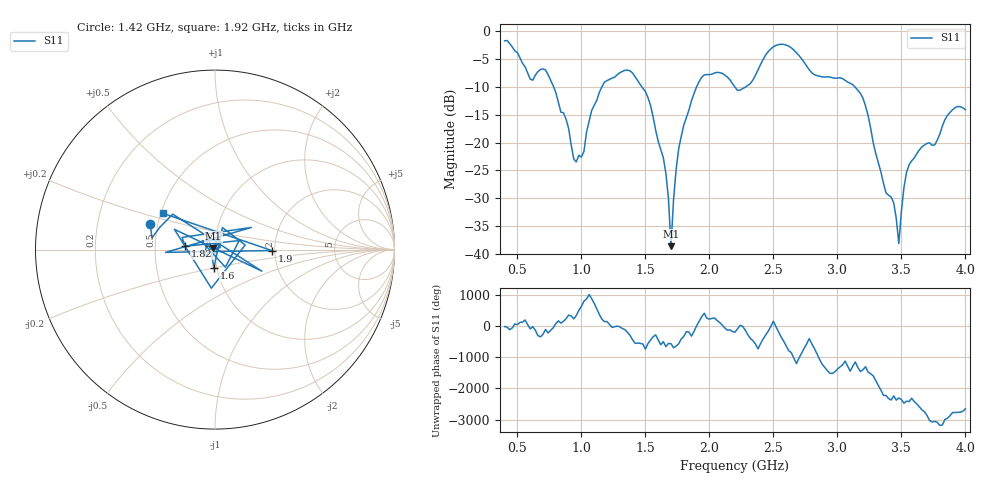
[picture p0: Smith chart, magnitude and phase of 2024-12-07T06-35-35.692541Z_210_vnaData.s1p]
!Created with skrf (http://scikit-rf.org).
# Hz S RI R 50.0
!freq ReS11 ImS11
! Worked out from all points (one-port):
!   181 points, 400 MHz to 4 GHz, reference 50 ohm
!   lowest |S11| = -38.6 dB at 1.7 GHz (marker M1), VSWR 1.02, Z = 49 + j0.627 ohm
!   |S11| at or under -10 dB: 783 MHz to 1.16 GHz (377.4 MHz wide, 38.8 % of centre); 1.472 GHz to 1.9 GHz (427.4 MHz wide, 25.3 % of centre); 3.137 GHz to end of sweep (the widest 3 of 4)
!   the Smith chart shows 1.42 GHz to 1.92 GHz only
!   S11 on the Smith chart (normalised r, x): 1.42 GHz: 0.45, +0.15; 1.6 GHz: 0.97, -0.20; 1.82 GHz: 0.71, +0.03; 1.9 GHz: 1.93, -0.02; 1.92 GHz: 0.51, +0.24
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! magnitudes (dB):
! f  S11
! 400 MHz  -1.7
! 600 MHz  -8.6
! 720 MHz  -7.0
! 860 MHz  -14.6
! 960 MHz  -23.5
! 1.16 GHz  -10.0
! 1.3 GHz  -7.5
! 1.42 GHz  -8.2
! 1.52 GHz  -11.9
! 1.6 GHz  -19.8
! 1.66 GHz  -25.5
! 1.7 GHz  -38.6
! 1.72 GHz  -30.2
! 1.76 GHz  -21.1
! 1.82 GHz  -15.5
! 1.9 GHz  -10.0
! 1.92 GHz  -9.0
! 2.2 GHz  -10.1
! 2.5 GHz  -2.8
! 2.66 GHz  -3.4
! 3.1 GHz  -9.4
! 3.22 GHz  -13.5
! 3.38 GHz  -29.0
! 3.44 GHz  -30.8
! 3.48 GHz  -38.1
! 3.52 GHz  -28.1
! 3.56 GHz  -24.0
! 4 GHz  -14.1
